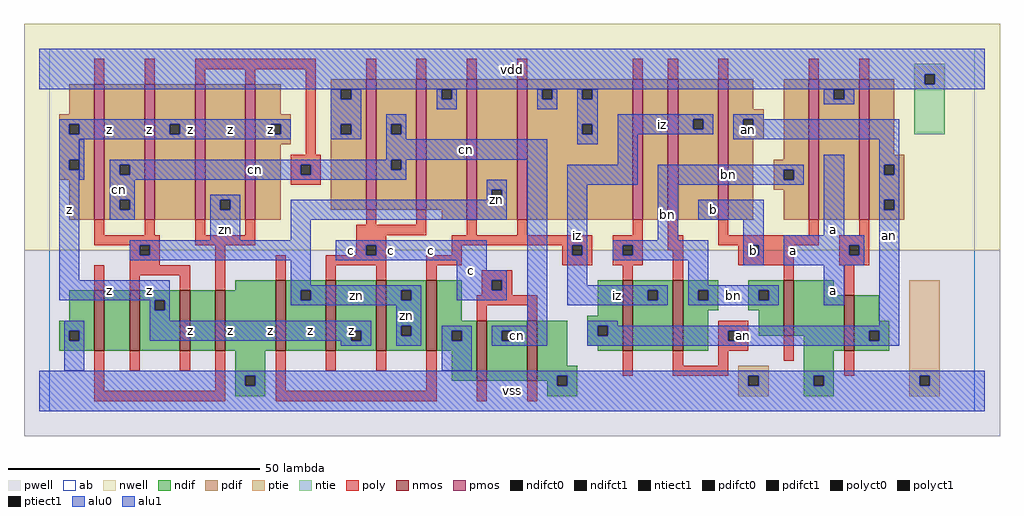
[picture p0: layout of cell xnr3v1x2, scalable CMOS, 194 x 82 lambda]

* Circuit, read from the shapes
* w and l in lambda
.subckt xnr3v1x2 a an b bn c cn iz vdd vss z zn
M1 n1 cn vss vss nfet w=12 l=2
M2 z zn n1 vss nfet w=12 l=2
M3 n2 zn z vss nfet w=12 l=2
M4 vss cn n2 vss nfet w=12 l=2
M5 zn iz vss vss nfet w=14 l=2 m=2
M6 z c zn vss nfet w=14 l=2 m=2
M7 cn c vss vss nfet w=12 l=2 m=2
M8 iz bn an vss nfet w=14 l=2
M9 bn an iz vss nfet w=14 l=2
M10 vss b bn vss nfet w=11 l=2
M11 an a vss vss nfet w=11 l=2
M12 cn zn z vdd pfet w=27 l=2 m=2
M13 zn cn z vdd pfet w=27 l=2 m=2
M14 cn c vdd vdd pfet w=26 l=2 m=2
M15 zn iz vdd vdd pfet w=28 l=2 m=2
M16 n3 bn vdd vdd pfet w=28 l=2
M17 iz an n3 vdd pfet w=28 l=2
M18 an b iz vdd pfet w=28 l=2
M19 vdd b bn vdd pfet w=28 l=2
M20 an a vdd vdd pfet w=28 l=2
.ends

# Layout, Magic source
magic
tech scmos
<< ab >>
rect 0 0 184 72
<< nwell >>
rect -5 32 189 77
<< pwell >>
rect -5 -5 189 32
<< poly >>
rect 9 65 11 70
rect 19 65 21 70
rect 29 68 53 70
rect 29 65 31 68
rect 39 65 41 68
rect 51 51 53 68
rect 63 66 65 70
rect 73 66 75 70
rect 83 66 85 70
rect 93 66 95 70
rect 116 66 118 70
rect 123 66 125 70
rect 133 66 135 70
rect 151 66 153 70
rect 161 66 163 70
rect 48 49 54 51
rect 48 47 50 49
rect 52 47 54 49
rect 48 45 54 47
rect 9 35 11 38
rect 19 35 21 38
rect 29 35 31 38
rect 39 35 41 38
rect 63 37 65 40
rect 73 37 75 40
rect 9 33 22 35
rect 29 33 41 35
rect 61 35 75 37
rect 83 35 85 38
rect 93 35 95 38
rect 116 35 118 38
rect 61 33 67 35
rect 16 31 18 33
rect 20 31 22 33
rect 16 29 22 31
rect 9 24 11 29
rect 16 27 28 29
rect 16 24 18 27
rect 26 24 28 27
rect 33 24 35 33
rect 61 31 63 33
rect 65 31 67 33
rect 80 33 108 35
rect 80 31 82 33
rect 45 26 47 31
rect 55 29 67 31
rect 55 26 57 29
rect 65 26 67 29
rect 75 29 82 31
rect 102 31 104 33
rect 106 31 108 33
rect 102 29 108 31
rect 112 33 118 35
rect 112 31 114 33
rect 116 31 118 33
rect 123 35 125 38
rect 133 35 135 38
rect 151 35 153 38
rect 161 35 163 38
rect 123 32 126 35
rect 133 33 153 35
rect 157 33 163 35
rect 112 29 118 31
rect 75 26 77 29
rect 86 26 92 28
rect 114 26 116 29
rect 124 26 126 32
rect 137 31 139 33
rect 141 31 148 33
rect 137 29 148 31
rect 157 31 159 33
rect 161 31 163 33
rect 157 29 163 31
rect 146 26 148 29
rect 86 24 88 26
rect 90 24 92 26
rect 86 23 92 24
rect 85 21 97 23
rect 85 18 87 21
rect 95 18 97 21
rect 9 4 11 12
rect 16 8 18 12
rect 26 8 28 12
rect 33 4 35 12
rect 9 2 35 4
rect 45 4 47 12
rect 55 8 57 12
rect 65 8 67 12
rect 75 4 77 12
rect 133 16 139 18
rect 133 14 135 16
rect 137 14 139 16
rect 158 23 160 29
rect 133 12 139 14
rect 114 7 116 12
rect 124 9 126 12
rect 133 9 135 12
rect 146 10 148 15
rect 124 7 135 9
rect 45 2 77 4
rect 85 2 87 6
rect 95 2 97 6
rect 158 7 160 12
<< ndif >>
rect 37 24 45 26
rect 4 18 9 24
rect 2 16 9 18
rect 2 14 4 16
rect 6 14 9 16
rect 2 12 9 14
rect 11 12 16 24
rect 18 22 26 24
rect 18 20 21 22
rect 23 20 26 22
rect 18 12 26 20
rect 28 12 33 24
rect 35 12 45 24
rect 47 24 55 26
rect 47 22 50 24
rect 52 22 55 24
rect 47 12 55 22
rect 57 16 65 26
rect 57 14 60 16
rect 62 14 65 16
rect 57 12 65 14
rect 67 24 75 26
rect 67 22 70 24
rect 72 22 75 24
rect 67 17 75 22
rect 67 15 70 17
rect 72 15 75 17
rect 67 12 75 15
rect 77 18 82 26
rect 109 19 114 26
rect 77 16 85 18
rect 77 14 80 16
rect 82 14 85 16
rect 77 12 85 14
rect 37 7 43 12
rect 37 5 39 7
rect 41 5 43 7
rect 37 3 43 5
rect 80 6 85 12
rect 87 16 95 18
rect 87 14 90 16
rect 92 14 95 16
rect 87 6 95 14
rect 97 9 103 18
rect 107 17 114 19
rect 107 15 109 17
rect 111 15 114 17
rect 107 13 114 15
rect 109 12 114 13
rect 116 24 124 26
rect 116 22 119 24
rect 121 22 124 24
rect 116 12 124 22
rect 126 24 133 26
rect 126 22 129 24
rect 131 22 133 24
rect 126 20 133 22
rect 139 24 146 26
rect 139 22 141 24
rect 143 22 146 24
rect 139 20 146 22
rect 126 12 131 20
rect 141 15 146 20
rect 148 23 156 26
rect 148 15 158 23
rect 97 7 105 9
rect 150 12 158 15
rect 160 18 165 23
rect 160 16 167 18
rect 160 14 163 16
rect 165 14 167 16
rect 160 12 167 14
rect 97 6 101 7
rect 99 5 101 6
rect 103 5 105 7
rect 99 3 105 5
rect 150 7 156 12
rect 150 5 152 7
rect 154 5 156 7
rect 150 3 156 5
<< pdif >>
rect 4 59 9 65
rect 2 57 9 59
rect 2 55 4 57
rect 6 55 9 57
rect 2 50 9 55
rect 2 48 4 50
rect 6 48 9 50
rect 2 46 9 48
rect 4 38 9 46
rect 11 49 19 65
rect 11 47 14 49
rect 16 47 19 49
rect 11 42 19 47
rect 11 40 14 42
rect 16 40 19 42
rect 11 38 19 40
rect 21 57 29 65
rect 21 55 24 57
rect 26 55 29 57
rect 21 38 29 55
rect 31 42 39 65
rect 31 40 34 42
rect 36 40 39 42
rect 31 38 39 40
rect 41 59 46 65
rect 41 57 48 59
rect 41 55 44 57
rect 46 55 48 57
rect 41 53 48 55
rect 41 38 46 53
rect 56 64 63 66
rect 56 62 58 64
rect 60 62 63 64
rect 56 57 63 62
rect 56 55 58 57
rect 60 55 63 57
rect 56 40 63 55
rect 65 57 73 66
rect 65 55 68 57
rect 70 55 73 57
rect 65 50 73 55
rect 65 48 68 50
rect 70 48 73 50
rect 65 40 73 48
rect 75 64 83 66
rect 75 62 78 64
rect 80 62 83 64
rect 75 40 83 62
rect 78 38 83 40
rect 85 44 93 66
rect 85 42 88 44
rect 90 42 93 44
rect 85 38 93 42
rect 95 64 116 66
rect 95 62 98 64
rect 100 62 106 64
rect 108 62 116 64
rect 95 57 116 62
rect 95 55 106 57
rect 108 55 116 57
rect 95 38 116 55
rect 118 38 123 66
rect 125 58 133 66
rect 125 56 128 58
rect 130 56 133 58
rect 125 38 133 56
rect 135 60 140 66
rect 135 58 142 60
rect 135 56 138 58
rect 140 56 142 58
rect 135 54 142 56
rect 135 38 140 54
rect 146 50 151 66
rect 144 48 151 50
rect 144 46 146 48
rect 148 46 151 48
rect 144 44 151 46
rect 146 38 151 44
rect 153 64 161 66
rect 153 62 156 64
rect 158 62 161 64
rect 153 38 161 62
rect 163 51 168 66
rect 163 49 170 51
rect 163 47 166 49
rect 168 47 170 49
rect 163 42 170 47
rect 163 40 166 42
rect 168 40 170 42
rect 163 38 170 40
<< alu1 >>
rect -2 67 186 72
rect -2 65 174 67
rect 176 65 186 67
rect -2 64 186 65
rect 2 57 48 58
rect 2 55 4 57
rect 6 55 24 57
rect 26 55 44 57
rect 46 55 48 57
rect 2 54 48 55
rect 2 50 6 54
rect 2 48 4 50
rect 2 26 6 48
rect 57 33 87 34
rect 57 31 63 33
rect 65 31 87 33
rect 57 30 87 31
rect 2 22 24 26
rect 20 20 21 22
rect 23 20 24 22
rect 81 28 87 30
rect 81 26 91 28
rect 81 24 88 26
rect 90 24 91 26
rect 81 22 91 24
rect 20 18 24 20
rect 20 16 64 18
rect 20 14 60 16
rect 62 14 64 16
rect 58 13 64 14
rect 129 38 142 42
rect 138 33 142 38
rect 154 35 158 51
rect 138 31 139 33
rect 141 31 142 33
rect 138 29 142 31
rect 146 33 162 35
rect 146 31 159 33
rect 161 31 162 33
rect 146 29 162 31
rect 154 21 158 29
rect -2 7 186 8
rect -2 5 39 7
rect 41 5 101 7
rect 103 5 139 7
rect 141 5 152 7
rect 154 5 173 7
rect 175 5 186 7
rect -2 0 186 5
<< ptie >>
rect 137 7 143 9
rect 137 5 139 7
rect 141 5 143 7
rect 137 3 143 5
rect 171 7 177 26
rect 171 5 173 7
rect 175 5 177 7
rect 171 3 177 5
<< ntie >>
rect 172 67 178 69
rect 172 65 174 67
rect 176 65 178 67
rect 172 55 178 65
<< nmos >>
rect 9 12 11 24
rect 16 12 18 24
rect 26 12 28 24
rect 33 12 35 24
rect 45 12 47 26
rect 55 12 57 26
rect 65 12 67 26
rect 75 12 77 26
rect 85 6 87 18
rect 95 6 97 18
rect 114 12 116 26
rect 124 12 126 26
rect 146 15 148 26
rect 158 12 160 23
<< pmos >>
rect 9 38 11 65
rect 19 38 21 65
rect 29 38 31 65
rect 39 38 41 65
rect 63 40 65 66
rect 73 40 75 66
rect 83 38 85 66
rect 93 38 95 66
rect 116 38 118 66
rect 123 38 125 66
rect 133 38 135 66
rect 151 38 153 66
rect 161 38 163 66
<< polyct0 >>
rect 50 47 52 49
rect 18 31 20 33
rect 104 31 106 33
rect 114 31 116 33
rect 135 14 137 16
<< polyct1 >>
rect 63 31 65 33
rect 139 31 141 33
rect 159 31 161 33
rect 88 24 90 26
<< ndifct0 >>
rect 4 14 6 16
rect 50 22 52 24
rect 70 22 72 24
rect 70 15 72 17
rect 80 14 82 16
rect 90 14 92 16
rect 109 15 111 17
rect 119 22 121 24
rect 129 22 131 24
rect 141 22 143 24
rect 163 14 165 16
<< ndifct1 >>
rect 21 20 23 22
rect 60 14 62 16
rect 39 5 41 7
rect 101 5 103 7
rect 152 5 154 7
<< ntiect1 >>
rect 174 65 176 67
<< ptiect1 >>
rect 139 5 141 7
rect 173 5 175 7
<< pdifct0 >>
rect 14 47 16 49
rect 14 40 16 42
rect 34 40 36 42
rect 58 62 60 64
rect 58 55 60 57
rect 68 55 70 57
rect 68 48 70 50
rect 78 62 80 64
rect 88 42 90 44
rect 98 62 100 64
rect 106 62 108 64
rect 106 55 108 57
rect 128 56 130 58
rect 138 56 140 58
rect 146 46 148 48
rect 156 62 158 64
rect 166 47 168 49
rect 166 40 168 42
<< pdifct1 >>
rect 4 55 6 57
rect 4 48 6 50
rect 24 55 26 57
rect 44 55 46 57
<< alu0 >>
rect 56 62 58 64
rect 60 62 62 64
rect 56 57 62 62
rect 77 62 78 64
rect 80 62 81 64
rect 77 60 81 62
rect 97 62 98 64
rect 100 62 101 64
rect 97 60 101 62
rect 105 62 106 64
rect 108 62 109 64
rect 56 55 58 57
rect 60 55 62 57
rect 56 54 62 55
rect 67 57 71 59
rect 67 55 68 57
rect 70 55 71 57
rect 67 54 71 55
rect 105 57 109 62
rect 154 62 156 64
rect 158 62 160 64
rect 154 61 160 62
rect 105 55 106 57
rect 108 55 109 57
rect 6 46 7 54
rect 67 50 99 54
rect 105 53 109 55
rect 113 58 132 59
rect 113 56 128 58
rect 130 56 132 58
rect 113 55 132 56
rect 136 58 142 59
rect 136 56 138 58
rect 140 56 169 58
rect 12 49 68 50
rect 12 47 14 49
rect 16 47 50 49
rect 52 48 68 49
rect 70 48 71 50
rect 52 47 71 48
rect 12 46 71 47
rect 12 42 17 46
rect 87 44 91 46
rect 12 40 14 42
rect 16 40 17 42
rect 12 38 17 40
rect 32 42 38 43
rect 87 42 88 44
rect 90 42 91 44
rect 32 40 34 42
rect 36 40 38 42
rect 32 34 38 40
rect 48 38 91 42
rect 48 34 52 38
rect 16 33 52 34
rect 16 31 18 33
rect 20 31 52 33
rect 16 30 52 31
rect 48 25 52 30
rect 48 24 74 25
rect 48 22 50 24
rect 52 22 70 24
rect 72 22 74 24
rect 48 21 74 22
rect 3 16 7 18
rect 3 14 4 16
rect 6 14 7 16
rect 3 8 7 14
rect 69 17 74 21
rect 95 17 99 50
rect 113 49 117 55
rect 136 54 169 56
rect 103 45 117 49
rect 121 48 150 49
rect 121 46 146 48
rect 148 46 150 48
rect 121 45 150 46
rect 103 33 107 45
rect 121 34 125 45
rect 103 31 104 33
rect 106 31 107 33
rect 103 25 107 31
rect 112 33 131 34
rect 112 31 114 33
rect 116 31 131 33
rect 112 30 131 31
rect 127 25 131 30
rect 165 49 169 54
rect 165 47 166 49
rect 168 47 169 49
rect 165 42 169 47
rect 165 40 166 42
rect 168 40 169 42
rect 103 24 123 25
rect 103 22 119 24
rect 121 22 123 24
rect 103 21 123 22
rect 127 24 145 25
rect 127 22 129 24
rect 131 22 141 24
rect 143 22 145 24
rect 127 21 145 22
rect 69 15 70 17
rect 72 15 74 17
rect 69 13 74 15
rect 78 16 84 17
rect 78 14 80 16
rect 82 14 84 16
rect 78 8 84 14
rect 88 16 99 17
rect 88 14 90 16
rect 92 14 99 16
rect 88 13 99 14
rect 107 17 113 18
rect 165 17 169 40
rect 107 15 109 17
rect 111 16 169 17
rect 111 15 135 16
rect 107 14 135 15
rect 137 14 163 16
rect 165 14 169 16
rect 107 13 169 14
<< labels >>
rlabel alu0 35 36 35 36 6 zn
rlabel alu0 14 44 14 44 6 cn
rlabel alu0 71 19 71 19 6 zn
rlabel alu0 61 23 61 23 6 zn
rlabel alu0 41 48 41 48 6 cn
rlabel alu0 93 15 93 15 6 cn
rlabel alu0 113 23 113 23 6 iz
rlabel alu0 123 39 123 39 6 bn
rlabel alu0 105 35 105 35 6 iz
rlabel alu0 89 42 89 42 6 zn
rlabel alu0 122 57 122 57 6 iz
rlabel alu0 83 52 83 52 6 cn
rlabel alu0 138 15 138 15 6 an
rlabel alu0 136 23 136 23 6 bn
rlabel alu0 135 47 135 47 6 bn
rlabel alu0 139 56 139 56 6 an
rlabel alu0 167 35 167 35 6 an
rlabel alu1 28 16 28 16 6 z
rlabel alu1 36 16 36 16 6 z
rlabel alu1 20 24 20 24 6 z
rlabel alu1 12 24 12 24 6 z
rlabel alu1 4 40 4 40 6 z
rlabel alu1 28 56 28 56 6 z
rlabel alu1 20 56 20 56 6 z
rlabel alu1 12 56 12 56 6 z
rlabel alu1 36 56 36 56 6 z
rlabel alu1 60 16 60 16 6 z
rlabel alu1 52 16 52 16 6 z
rlabel alu1 44 16 44 16 6 z
rlabel alu1 76 32 76 32 6 c
rlabel alu1 84 28 84 28 6 c
rlabel alu1 60 32 60 32 6 c
rlabel alu1 68 32 68 32 6 c
rlabel alu1 44 56 44 56 6 z
rlabel alu1 92 4 92 4 6 vss
rlabel alu1 132 40 132 40 6 b
rlabel alu1 92 68 92 68 6 vdd
rlabel polyct1 140 32 140 32 6 b
rlabel alu1 148 32 148 32 6 a
rlabel alu1 156 24 156 24 6 a
rlabel alu1 156 36 156 36 6 a
<< end >>
